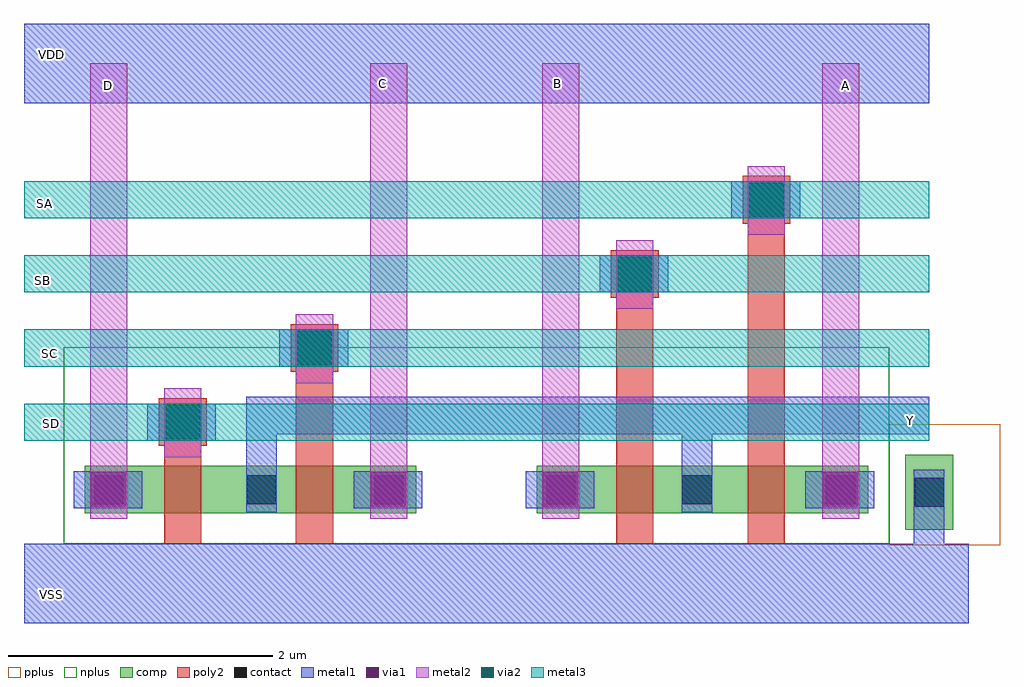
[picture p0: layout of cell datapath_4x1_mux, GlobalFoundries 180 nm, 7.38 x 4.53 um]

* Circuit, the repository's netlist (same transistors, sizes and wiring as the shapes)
** sch_path: /foss/designs/engn1600-team1/CAD7/datapath_4x1_mux.sch
.subckt datapath_4x1_mux SA A SB B VSS Y SC C SD D
*.PININFO A:I B:I C:I D:I Y:O VSS:B SA:I SB:I SC:I SD:I
M1 Y SA A VSS nfet_03v3 L=0.28u W=0.36u nf=1 m=1
M2 Y SB B VSS nfet_03v3 L=0.28u W=0.36u nf=1 m=1
M3 Y SC C VSS nfet_03v3 L=0.28u W=0.36u nf=1 m=1
M4 Y SD D VSS nfet_03v3 L=0.28u W=0.36u nf=1 m=1
.ends

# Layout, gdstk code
import gdstk
lib = gdstk.Library(unit=1e-6, precision=5e-09)
def R(c, l, rs):  # rectangles x0, y0, x1, y1
    for r in rs: c.add(gdstk.rectangle(r[:2], r[2:], *l))
def A(c, l, x, y, w, h, nx, ny, dx, dy):  # array of equal rectangles
    R(c, l, [(x+i*dx, y+j*dy, x+i*dx+w, y+j*dy+h) for i in range(nx) for j in range(ny)])
comp = (22, 0)
poly2 = (30, 0)
pplus = (31, 0)
nplus = (32, 0)
contact = (33, 0)
metal1 = (34, 0)
via1 = (35, 0)
metal2 = (36, 0)
via2 = (38, 0)
metal3 = (42, 0)

datapath_4x1_mux = lib.new_cell('datapath_4x1_mux')
R(datapath_4x1_mux, comp, [(3.695,-4.13,4.055,-3.56), (-2.505,-4.005,0,-3.645), (0.91,-4.005,3.415,-3.645)])
R(datapath_4x1_mux, poly2, [(-1.905,-4.235,-1.625,-3.495), (-0.91,-4.235,-0.63,-2.935), (1.51,-4.235,1.79,-2.375), (2.505,-4.235,2.785,-1.815), (-1.945,-3.495,-1.585,-3.135), (-0.95,-2.935,-0.59,-2.575), (1.47,-2.375,1.83,-2.015), (2.465,-1.815,2.825,-1.455)])
R(datapath_4x1_mux, pplus, [(3.575,-4.245,4.41,-3.33)])
R(datapath_4x1_mux, nplus, [(-2.665,-4.235,3.575,-2.75)])
R(datapath_4x1_mux, contact, [(3.765,-3.955,3.985,-3.735), (-2.435,-3.935,-2.215,-3.715), (-1.28,-3.935,-1.06,-3.715), (-0.32,-3.935,-0.1,-3.715), (0.98,-3.935,1.2,-3.715), (2.01,-3.935,2.23,-3.715), (3.095,-3.935,3.315,-3.715), (-1.875,-3.425,-1.655,-3.205), (-0.88,-2.865,-0.66,-2.645), (1.54,-2.305,1.76,-2.085), (2.535,-1.745,2.755,-1.525)])
R(datapath_4x1_mux, metal1, [(-2.965,-4.835,3.875,-4.235), (3.575,-4.835,4.175,-4.235), (3.76,-4.235,3.99,-3.675), (-1.285,-3.995,-1.055,-3.125), (2.005,-3.995,2.235,-3.405), (-2.59,-3.965,-2.07,-3.685), (-0.475,-3.965,0.045,-3.685), (0.825,-3.965,1.345,-3.685), (2.94,-3.965,3.46,-3.685), (-2.035,-3.455,-1.515,-3.175), (-1.055,-3.405,3.875,-3.125), (-1.035,-2.895,-0.515,-2.615), (1.385,-2.335,1.905,-2.055), (2.38,-1.775,2.9,-1.495), (-2.965,-0.905,3.875,-0.305)])
R(datapath_4x1_mux, via1, [(-2.455,-3.955,-2.195,-3.695), (-0.34,-3.955,-0.08,-3.695), (0.96,-3.955,1.22,-3.695), (3.075,-3.955,3.335,-3.695), (-1.895,-3.445,-1.635,-3.185), (-0.9,-2.885,-0.64,-2.625), (1.52,-2.325,1.78,-2.065), (2.515,-1.765,2.775,-1.505)])
R(datapath_4x1_mux, metal2, [(-2.465,-4.045,-2.185,-0.605), (-0.35,-4.045,-0.07,-0.605), (0.95,-4.045,1.23,-0.605), (3.065,-4.045,3.345,-0.605), (-1.905,-3.58,-1.625,-3.06), (-0.91,-3.02,-0.63,-2.5), (1.51,-2.46,1.79,-1.94), (2.505,-1.9,2.785,-1.38)])
R(datapath_4x1_mux, via2, [(-1.895,-3.445,-1.635,-3.185), (-0.9,-2.885,-0.64,-2.625), (1.52,-2.325,1.78,-2.065), (2.515,-1.765,2.775,-1.505)])
A(datapath_4x1_mux, metal3, -2.965, -3.455, 6.84, 0.28, 1, 4, 0, 0.56)
datapath_4x1_mux.add(gdstk.Label('SC', (-2.775,-2.795), layer=42, texttype=10))
datapath_4x1_mux.add(gdstk.Label('SA', (-2.81,-1.665), layer=42, texttype=10))
datapath_4x1_mux.add(gdstk.Label('SD', (-2.755,-3.325), layer=42, texttype=10))
datapath_4x1_mux.add(gdstk.Label('SB', (-2.825,-2.245), layer=42, texttype=10))
datapath_4x1_mux.add(gdstk.Label('Y', (3.735,-3.305), layer=34, texttype=10))
datapath_4x1_mux.add(gdstk.Label('VDD', (-2.76,-0.54), layer=34, texttype=10))
datapath_4x1_mux.add(gdstk.Label('VSS', (-2.76,-4.615), layer=34, texttype=10))
datapath_4x1_mux.add(gdstk.Label('D', (-2.325,-0.775), layer=36, texttype=10))
datapath_4x1_mux.add(gdstk.Label('C', (-0.255,-0.755), layer=36, texttype=10))
datapath_4x1_mux.add(gdstk.Label('B', (1.065,-0.755), layer=36, texttype=10))
datapath_4x1_mux.add(gdstk.Label('A', (3.24,-0.77), layer=36, texttype=10))

lib.write_gds('datapath_4x1_mux.gds')
